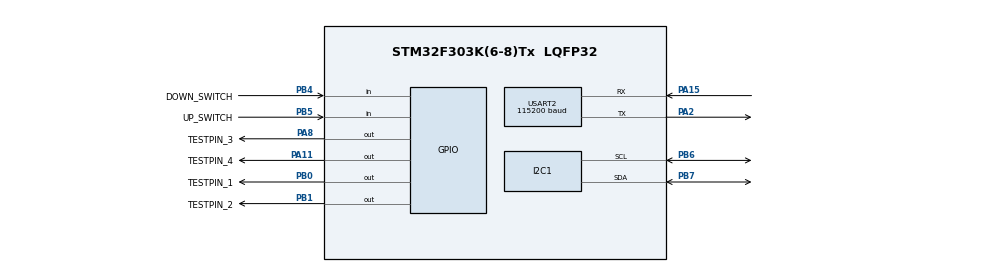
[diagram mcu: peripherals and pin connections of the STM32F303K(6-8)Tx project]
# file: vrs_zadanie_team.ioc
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Dma.Request0=USART2_RX
Dma.Request1=USART2_TX
Dma.USART2_RX.0.Direction=DMA_PERIPH_TO_MEMORY
Dma.USART2_RX.0.Instance=DMA1_Channel6
Dma.USART2_RX.0.MemDataAlignment=DMA_MDATAALIGN_BYTE
Dma.USART2_RX.0.MemInc=DMA_MINC_ENABLE
Dma.USART2_RX.0.Mode=DMA_NORMAL
Dma.USART2_RX.0.PeriphDataAlignment=DMA_PDATAALIGN_BYTE
Dma.USART2_RX.0.PeriphInc=DMA_PINC_DISABLE
Dma.USART2_RX.0.Priority=DMA_PRIORITY_LOW
Dma.USART2_TX.1.Direction=DMA_MEMORY_TO_PERIPH
Dma.USART2_TX.1.Instance=DMA1_Channel7
Dma.USART2_TX.1.MemDataAlignment=DMA_MDATAALIGN_BYTE
Dma.USART2_TX.1.MemInc=DMA_MINC_ENABLE
Dma.USART2_TX.1.Mode=DMA_NORMAL
Dma.USART2_TX.1.PeriphDataAlignment=DMA_PDATAALIGN_BYTE
Dma.USART2_TX.1.PeriphInc=DMA_PINC_DISABLE
Dma.USART2_TX.1.Priority=DMA_PRIORITY_LOW
I2C1.Timing=0x00201D2B
Mcu.Family=STM32F3
Mcu.Name=STM32F303K(6-8)Tx
Mcu.Package=LQFP32
NVIC.DMA1_Channel6_IRQn=true\:4\:0\:true\:false\:true\:false\:true\:true
NVIC.DMA1_Channel7_IRQn=true\:4\:0\:true\:false\:true\:false\:true\:true
NVIC.PriorityGroup=NVIC_PRIORITYGROUP_4
NVIC.TIM2_IRQn=true\:2\:0\:true\:false\:true\:true\:true\:true
NVIC.TIM3_IRQn=true\:3\:0\:true\:false\:true\:true\:true\:true
PA11.GPIO_Label=TESTPIN_4
PA11.Signal=GPIO_Output
PA15.Mode=Asynchronous
PA15.Signal=USART2_RX
PA2.Mode=Asynchronous
PA2.Signal=USART2_TX
PA8.GPIO_Label=TESTPIN_3
PA8.Signal=GPIO_Output
PB0.GPIO_Label=TESTPIN_1
PB0.Signal=GPIO_Output
PB1.GPIO_Label=TESTPIN_2
PB1.Signal=GPIO_Output
PB4.GPIO_Label=DOWN_SWITCH
PB4.GPIO_PuPd=GPIO_PULLUP
PB4.Signal=GPIO_Input
PB5.GPIO_Label=UP_SWITCH
PB5.GPIO_PuPd=GPIO_PULLUP
PB5.Signal=GPIO_Input
PB6.Mode=I2C
PB6.Signal=I2C1_SCL
PB7.Mode=I2C
PB7.Signal=I2C1_SDA
ProjectManager.HeapSize=0x200
ProjectManager.StackSize=0x400
ProjectManager.TargetToolchain=STM32CubeIDE
RCC.AHBFreq_Value=64000000
RCC.APB1CLKDivider=RCC_HCLK_DIV2
RCC.APB1Freq_Value=32000000
RCC.APB1TimFreq_Value=64000000
RCC.APB2Freq_Value=64000000
RCC.APB2TimFreq_Value=64000000
RCC.CortexFreq_Value=64000000
RCC.HCLKFreq_Value=64000000
RCC.HSE_VALUE=8000000
RCC.HSI_VALUE=8000000
RCC.PLLMUL=RCC_PLL_MUL16
RCC.SYSCLKFreq_VALUE=64000000
RCC.SYSCLKSourceVirtual=RCC_SYSCLKSOURCE_PLLCLK
TIM2.Period=533332
TIM2.Prescaler=0
TIM3.Period=49999
TIM3.Prescaler=63
USART2.BaudRate=115200
USART2.VirtualMode-Asynchronous=VM_ASYNC
VP_TIM2_VS_ClockSourceINT.Mode=Internal
VP_TIM3_VS_ClockSourceINT.Mode=Internal
board=custom

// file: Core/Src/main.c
/* USER CODE BEGIN Header */
/**
  ******************************************************************************
  * @file           : main.c
  * @brief          : Main program body
  ******************************************************************************
  * @attention
  *
  * Copyright (c) 2024 STMicroelectronics.
  * All rights reserved.
  *
  * This software is licensed under terms that can be found in the LICENSE file
  * in the root directory of this software component.
  * If no LICENSE file comes with this software, it is provided AS-IS.
  *
  ******************************************************************************
  */
/* USER CODE END Header */
#include "main.h"
#include "dma.h"
#include "i2c.h"
#include "tim.h"
#include "usart.h"
#include "gpio.h"

/* USER CODE BEGIN Includes */
#include "LSM6DS0.h"
#include "LIS3MDL.h"
#include "SensorDataProcessing.h"
#include <math.h>
/* USER CODE END Includes */

/* USER CODE BEGIN PD */
#define MAX_DATA_BUFFER		8
uint8_t dataCounter = 0;

// Raw data
float gyroX[MAX_DATA_BUFFER];
float gyroY[MAX_DATA_BUFFER];
float gyroZ[MAX_DATA_BUFFER];
float gyroCalib[3];

float acclX[MAX_DATA_BUFFER];
float acclY[MAX_DATA_BUFFER];
float acclZ[MAX_DATA_BUFFER];

float magX[MAX_DATA_BUFFER];
float magY[MAX_DATA_BUFFER];
float magZ[MAX_DATA_BUFFER];
float magInitialValues[3];
uint8_t magnetCalibration = 0;
uint8_t yawCalibration = 0;
float magMax[3];
float magMin[3];
float magCalib[3];
float initialYaw;
uint8_t initialYawData = 50;

// Processed data
float gyroMeanValues[3];
float acclMeanValues[3];
float magMeanValues[3];

// Angle data
float previousGyroAngles[3];
float gyroAngles[3];
float radAngleValues[3];
float degAngleValues[3];
float lastYaw;
float magCorrectedValues[3];
float lastMagCorrectedValues[3];

float filteredRollAngle = 0;
float filteredPitchAngle = 0;
float filteredYawAngle = 0;

float outputData[3];

// Height control
float height = 0;
// GPIO UP
EDGE_TYPE upDetectedEdgeType;
EDGE_TYPE upButtonEdgeType;
uint32_t upButtonCounter;
uint8_t upCurrButtonState;
uint8_t upPrevButtonState;
uint8_t upState;

// GPIO DOWN
EDGE_TYPE downDetectedEdgeType;
EDGE_TYPE downButtonEdgeType;
uint32_t downButtonCounter;
uint8_t downCurrButtonState;
uint8_t downPrevButtonState;
uint8_t downState;

// Commands
flip_state command = NOFLIP;
uint8_t commandCounter = 0;

/* USER CODE END PD */

void SystemClock_Config(void);

/* USER CODE BEGIN 0 */
/**
  * @brief   Main interrupt handler for TIM2. Handles gyroscope data acquisition.
  * @details This function should be used for I2C handling.
  * @note    This interrupt handler is called with period T_TIM2 = 8.333 ms (120 Hz).
  * @retval  None
  */
void TIM2_IRQ_main(void)
{
	// Read RAW data
	int16_t rawGyroX, rawGyroY, rawGyroZ;
	int16_t rawAcclX, rawAcclY, rawAcclZ;
	int16_t rawMagX, rawMagY, rawMagZ;

	LSM6DS0_get_gyro(&rawGyroX, &rawGyroY, &rawGyroZ);
	LSM6DS0_get_accl(&rawAcclX, &rawAcclY, &rawAcclZ);
	LIS3MDL_get_mag(&rawMagX, &rawMagY, &rawMagZ);

	// Parse data to usable dimensions
	gyroX[dataCounter] = LSM6DS0_parse_gyro_data(rawGyroX) - gyroCalib[0];
	gyroY[dataCounter] = LSM6DS0_parse_gyro_data(rawGyroY) - gyroCalib[1];
	gyroZ[dataCounter] = LSM6DS0_parse_gyro_data(rawGyroZ) - gyroCalib[2];

	acclX[dataCounter] = LSM6DS0_parse_accl_data(rawAcclX);
	acclY[dataCounter] = LSM6DS0_parse_accl_data(rawAcclY);
	acclZ[dataCounter] = LSM6DS0_parse_accl_data(rawAcclZ);

	if(magnetCalibration && yawCalibration == 0)
	{
		magX[dataCounter] = LIS3MDL_parse_mag_data(rawMagX);// - magInitialValues[0];
		magY[dataCounter] = LIS3MDL_parse_mag_data(rawMagY);// - magInitialValues[1];
		magZ[dataCounter] = LIS3MDL_parse_mag_data(rawMagZ);// - magInitialValues[2];
	}
	else
	{
		magX[dataCounter] = LIS3MDL_parse_mag_data(rawMagX) - magCalib[0];// - magInitialValues[0];
		magY[dataCounter] = LIS3MDL_parse_mag_data(rawMagY) - magCalib[1];// - magInitialValues[1];
		magZ[dataCounter] = LIS3MDL_parse_mag_data(rawMagZ) - magCalib[2];// - magInitialValues[2];
	}

	// Process data
	acclMeanValues[0] = movingAvgFilter((float *)acclX, MAX_DATA_BUFFER);
	acclMeanValues[1] = movingAvgFilter((float *)acclY, MAX_DATA_BUFFER);
	acclMeanValues[2] = movingAvgFilter((float *)acclZ, MAX_DATA_BUFFER);

	gyroMeanValues[0] = movingAvgFilter((float *)gyroX, MAX_DATA_BUFFER);
	gyroMeanValues[1] = movingAvgFilter((float *)gyroY, MAX_DATA_BUFFER);
	gyroMeanValues[2] = movingAvgFilter((float *)gyroZ, MAX_DATA_BUFFER);

	magMeanValues[0] = movingAvgFilter((float *)magX, MAX_DATA_BUFFER);
	magMeanValues[1] = movingAvgFilter((float *)magY, MAX_DATA_BUFFER);
	magMeanValues[2] = movingAvgFilter((float *)magZ, MAX_DATA_BUFFER);

	// Gyro Integration
	gyroAngles[0] += gyroY[dataCounter] * 8.333e-3;
	gyroAngles[1] += gyroX[dataCounter] * 8.333e-3;
	gyroAngles[2] += gyroZ[dataCounter] * 8.333e-3;

	// UP logic
	upCurrButtonState = LL_GPIO_IsInputPinSet(GPIOB, UP_SWITCH_Pin);
	edgeDetect(upCurrButtonState, upPrevButtonState, 4, &upButtonCounter, &upButtonEdgeType, &upDetectedEdgeType);
	switch (upButtonEdgeType)
	{
		case RISE:
			upState = 0; break;
		case FALL:
			upState = 1; break;
		default: break;
	}
	upPrevButtonState = upCurrButtonState;

	// DOWN logic
	downCurrButtonState = LL_GPIO_IsInputPinSet(GPIOB, DOWN_SWITCH_Pin);
	edgeDetect(downCurrButtonState, downPrevButtonState, 4, &downButtonCounter, &downButtonEdgeType, &downDetectedEdgeType);
	switch (downButtonEdgeType)
	{
		case RISE:
			downState = 0; break;
		case FALL:
			downState = 1; break;
		default: break;
	}
	downPrevButtonState = downCurrButtonState;

	if(magnetCalibration == 0)
	{
		// Command Detection
		if(command == NOFLIP)
			command = flipSensor(gyroMeanValues);
	}

	dataCounter++;
	if(dataCounter >= MAX_DATA_BUFFER)
		dataCounter = 0;

	if(initialYawData > 0)
		initialYawData--;
}

/**
  * @brief   Main interrupt handler for TIM3.
  * @details This function should be used for data processing and USART handling.
  * @note    This interrupt handler is called with period T_TIM3 = 50 ms (20 Hz).
  * @retval  None
  */
void TIM3_IRQ_main(void)
{
	if(magnetCalibration)
	{
		if (upState == 1 && downState == 1)
		{
			for(int i = 0; i<3; i++)
			{
				if(magMeanValues[i] > magMax[i])
					magMax[i] = magMeanValues[i];
				if(magMeanValues[i] < magMin[i])
					magMin[i] = magMeanValues[i];

				magCalib[i] = (magMax[i] + magMin[i]) * 0.5;
			}
		}

		if (upState == 0 && downState == 0)
		{
			yawCalibration = 1;
			while(initialYawData != 0)
				;

			// Correct magnetometer data
			magCorrectedValues[0] =   magMeanValues[1]*cos(radAngleValues[0])+magMeanValues[2]*sin(radAngleValues[0]) ;
			magCorrectedValues[1] = -(magMeanValues[0]*cos(radAngleValues[1])+magMeanValues[2]*sin(radAngleValues[1]));
			magCorrectedValues[2] =   magMeanValues[0]*sin(radAngleValues[1])+magMeanValues[2]*cos(radAngleValues[1]) +
					                  magMeanValues[1]*sin(radAngleValues[0])+magMeanValues[2]*cos(radAngleValues[0]) ;
			float yaw_in_rad = yaw_fromMag(magCorrectedValues, 0);
			initialYaw = rad2deg(yaw_in_rad);
			lastYaw = yaw_in_rad;
			for (int i = 0; i<3; i++)
			{
				gyroAngles[i] = degAngleValues[i];
			    previousGyroAngles[i] = degAngleValues[i];
			    gyroMeanValues[i] = 0;
			}
			filteredRollAngle = 0;
			filteredPitchAngle = 0;
			filteredYawAngle = 0;
			magnetCalibration = 0;

			//memcpy(lastMagCorrectedValues, magCorrectedValues, sizeof(magCorrectedValues));
		}
		USART2_send_data("CALIB",0,0,0,0);
	}
	else
	{
		char commandChar[10] = "NONE";

		// Calculate ROLL, PITCH
		calculate_angles(radAngleValues, acclMeanValues);

		// Correct magnetometer data
		magCorrectedValues[0] =   magMeanValues[1]*cos(radAngleValues[0])+magMeanValues[2]*sin(radAngleValues[0]) ;
		magCorrectedValues[1] = -(magMeanValues[0]*cos(radAngleValues[1])+magMeanValues[2]*sin(radAngleValues[1]));
		magCorrectedValues[2] =   magMeanValues[0]*sin(radAngleValues[1])+magMeanValues[2]*cos(radAngleValues[1]) +
				                  magMeanValues[1]*sin(radAngleValues[0])+magMeanValues[2]*cos(radAngleValues[0]) ;

		// Calculate YAW
		radAngleValues[2] = yaw_fromMag(magCorrectedValues, lastYaw);
		lastYaw = radAngleValues[2];
		//memcpy(lastMagCorrectedValues, magCorrectedValues, sizeof(magCorrectedValues));

		// Convert to degrees
		degAngleValues[0] = rad2deg(radAngleValues[0]);
		degAngleValues[1] = rad2deg(radAngleValues[1]);
		degAngleValues[2] = rad2deg(radAngleValues[2]) - initialYaw;

		complementaryFilter( &filteredRollAngle, gyroAngles[0]-previousGyroAngles[0], degAngleValues[0]);
		complementaryFilter(&filteredPitchAngle, gyroAngles[1]-previousGyroAngles[1], degAngleValues[1]);
		complementaryFilter(  &filteredYawAngle, gyroAngles[2]-previousGyroAngles[2], degAngleValues[2]);

		// X - Pitch
		outputData[0] = linInterpolation(filteredRollAngle, 5.0, 45.0, 0, 100);
		// Y - Roll
		outputData[1] = linInterpolation(filteredPitchAngle, 5.0, 45.0, 0, 100);
		// Z - Yaw
		outputData[2] = linInterpolation(filteredYawAngle, 5.0, 30.0, 0, 100);

		if (upState && downState)
		{
			magnetCalibration = 1;
			initialYawData = 50;
			for(int i = 0; i<3; i++)
			{
				magMax[i] = magMeanValues[i];
				magMin[i] = magMeanValues[i];
			}
		}
		else if (upState)
			height = 100;
		else if (downState)
			height = -100;
		else
			height = 0;

		switch(command)
		{
			case FRONTFLIP: strcpy((char *)commandChar, "FRONTFLIP"); break;
			case BACKFLIP:  strcpy((char *)commandChar, "BACKFLIP");  break;
			case RIGHTFLIP: strcpy((char *)commandChar, "RIGHTFLIP"); break;
			case LEFTFLIP:  strcpy((char *)commandChar, "LEFTFLIP");  break;
			default: 		strcpy((char *)commandChar, "NONE"); break;
		}

		if(command != NOFLIP && commandCounter == 0)
		{
			command = NOFLIP;
			commandCounter = 1;
		}
		if(commandCounter > 0)
			commandCounter--;

		// Send Data (int8_t)outputData[2]*-1
		USART2_send_data(commandChar, (int8_t)outputData[0], (int8_t)outputData[1]*-1, (int8_t)outputData[2]*-1, (int8_t)height);
		//USART2_send_debug_data(degAngleValues[0], degAngleValues[1], degAngleValues[2]);

		// Remember Gyro angles
		previousGyroAngles[0] = gyroAngles[0];
		previousGyroAngles[1] = gyroAngles[1];
		previousGyroAngles[2] = gyroAngles[2];
	}
}

/**
  * @brief   Main cycle handler for the system.
  * @details Should be used for data processing.
  * @retval  None
  */
void SystemMainCycleRoutine(void)
{
	LL_GPIO_SetOutputPin(GPIOA, TESTPIN_4_Pin);
	asm("#NOP");
	LL_GPIO_ResetOutputPin(GPIOA, TESTPIN_4_Pin);
}
/* USER CODE END 0 */

int main(void)
{

  /* MCU Configuration--------------------------------------------------------*/

  /* Reset of all peripherals, Initializes the Flash interface and the Systick. */
  LL_APB2_GRP1_EnableClock(LL_APB2_GRP1_PERIPH_SYSCFG);
  LL_APB1_GRP1_EnableClock(LL_APB1_GRP1_PERIPH_PWR);

  /* System interrupt init*/
  NVIC_SetPriorityGrouping(NVIC_PRIORITYGROUP_4);

  /* SysTick_IRQn interrupt configuration */
  NVIC_SetPriority(SysTick_IRQn, NVIC_EncodePriority(NVIC_GetPriorityGrouping(),1, 0));

  /* Configure the system clock */
  SystemClock_Config();

  /* USER CODE BEGIN SysInit */
  LL_SYSTICK_EnableIT();
  /* USER CODE END SysInit */

  /* Initialize all configured peripherals */
  MX_GPIO_Init();
  MX_DMA_Init();
  MX_I2C1_Init();
  MX_USART2_UART_Init();
  MX_TIM2_Init();
  MX_TIM3_Init();
  /* USER CODE BEGIN 2 */
  LSM6DS0_init(I2C1_MultiByteRead, I2C1_MultiByteWrite);
  LIS3MDL_init(I2C1_MultiByteRead, I2C1_MultiByteWrite);

  LSM6DS0_get_gyro_calib(gyroCalib);
  LIS3MDL_getInitialMag(magInitialValues);
  //memcpy(lastMagCorrectedValues, magInitialValues, sizeof(magInitialValues));
  initialYaw = rad2deg(yaw_fromMag(magInitialValues, lastYaw));
  lastYaw = initialYaw;
  //memcpy(lastMagCorrectedValues, magCorrectedValues, sizeof(magCorrectedValues));

  TIM2_RegisterCallback(TIM2_IRQ_main);
  TIM3_RegisterCallback(TIM3_IRQ_main);
  /* USER CODE END 2 */

  /* Infinite loop */
  /* USER CODE BEGIN WHILE */
	while (1)
	{
		SystemMainCycleRoutine();
    /* USER CODE END WHILE */

	}
}

void SystemClock_Config(void)
{
  LL_FLASH_SetLatency(LL_FLASH_LATENCY_2);
  while(LL_FLASH_GetLatency()!= LL_FLASH_LATENCY_2)
  {
  }
  LL_RCC_HSI_Enable();

   /* Wait till HSI is ready */
  while(LL_RCC_HSI_IsReady() != 1)
  {

  }
  LL_RCC_HSI_SetCalibTrimming(16);
  LL_RCC_PLL_ConfigDomain_SYS(LL_RCC_PLLSOURCE_HSI_DIV_2, LL_RCC_PLL_MUL_16);
  LL_RCC_PLL_Enable();

   /* Wait till PLL is ready */
  while(LL_RCC_PLL_IsReady() != 1)
  {

  }
  LL_RCC_SetAHBPrescaler(LL_RCC_SYSCLK_DIV_1);
  LL_RCC_SetAPB1Prescaler(LL_RCC_APB1_DIV_2);
  LL_RCC_SetAPB2Prescaler(LL_RCC_APB2_DIV_1);
  LL_RCC_SetSysClkSource(LL_RCC_SYS_CLKSOURCE_PLL);

   /* Wait till System clock is ready */
  while(LL_RCC_GetSysClkSource() != LL_RCC_SYS_CLKSOURCE_STATUS_PLL)
  {

  }
  LL_Init1msTick(64000000);
  LL_SetSystemCoreClock(64000000);
  LL_RCC_SetI2CClockSource(LL_RCC_I2C1_CLKSOURCE_HSI);
}

void Error_Handler(void)
{
  __disable_irq();
  while (1)
  {
  }
}
